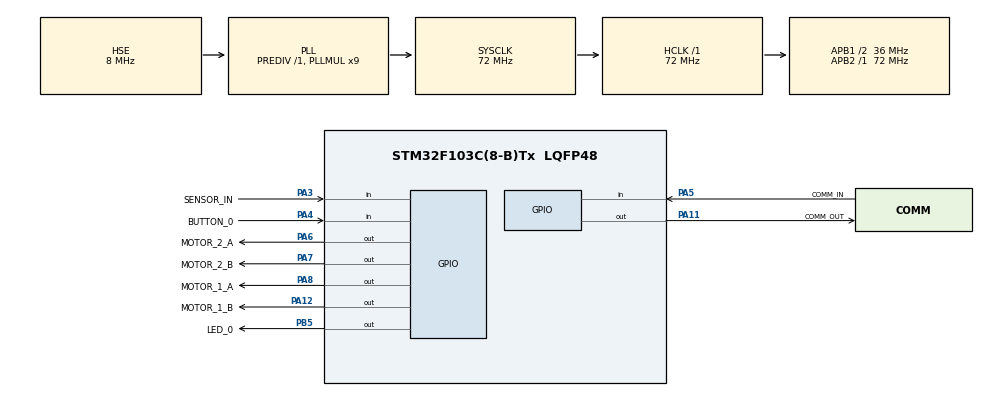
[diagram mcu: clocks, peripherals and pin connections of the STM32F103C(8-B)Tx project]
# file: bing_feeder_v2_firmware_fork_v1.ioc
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Mcu.Family=STM32F1
Mcu.Name=STM32F103C(8-B)Tx
Mcu.Package=LQFP48
NVIC.PriorityGroup=NVIC_PRIORITYGROUP_4
NVIC.TIM1_UP_IRQn=true\:0\:0\:false\:false\:true\:true\:true\:true
PA11.GPIO_Label=COMM_OUT
PA11.GPIO_ModeDefaultOutputPP=GPIO_MODE_OUTPUT_OD
PA11.GPIO_PuPd=GPIO_PULLUP
PA11.Signal=GPIO_Output
PA12.GPIO_Label=MOTOR_1_B
PA12.Signal=GPIO_Output
PA13.Mode=Serial_Wire
PA13.Signal=SYS_JTMS-SWDIO
PA14.Mode=Serial_Wire
PA14.Signal=SYS_JTCK-SWCLK
PA3.GPIO_Label=SENSOR_IN
PA3.GPIO_PuPd=GPIO_PULLUP
PA3.Signal=GPIO_Input
PA4.GPIO_Label=BUTTON_0
PA4.GPIO_PuPd=GPIO_PULLUP
PA4.Signal=GPIO_Input
PA5.GPIO_Label=COMM_IN
PA5.GPIO_PuPd=GPIO_PULLUP
PA5.Signal=GPIO_Input
PA6.GPIO_Label=MOTOR_2_A
PA6.Signal=GPIO_Output
PA7.GPIO_Label=MOTOR_2_B
PA7.Signal=GPIO_Output
PA8.GPIO_Label=MOTOR_1_A
PA8.Signal=GPIO_Output
PB5.GPIO_Label=LED_0
PB5.GPIO_ModeDefaultOutputPP=GPIO_MODE_OUTPUT_OD
PB5.GPIO_PuPd=GPIO_NOPULL
PB5.Signal=GPIO_Output
PD0-OSC_IN.Mode=HSE-External-Oscillator
PD0-OSC_IN.Signal=RCC_OSC_IN
PD1-OSC_OUT.Mode=HSE-External-Oscillator
PD1-OSC_OUT.Signal=RCC_OSC_OUT
ProjectManager.HeapSize=0x200
ProjectManager.StackSize=0x400
ProjectManager.TargetToolchain=Makefile
RCC.AHBFreq_Value=72000000
RCC.APB1CLKDivider=RCC_HCLK_DIV2
RCC.APB1Freq_Value=36000000
RCC.APB1TimFreq_Value=72000000
RCC.APB2Freq_Value=72000000
RCC.APB2TimFreq_Value=72000000
RCC.HCLKFreq_Value=72000000
RCC.PLLMUL=RCC_PLL_MUL9
RCC.PLLSourceVirtual=RCC_PLLSOURCE_HSE
RCC.SYSCLKFreq_VALUE=72000000
RCC.SYSCLKSource=RCC_SYSCLKSOURCE_PLLCLK
RCC.USBFreq_Value=72000000
TIM1.AutoReloadPreload=TIM_AUTORELOAD_PRELOAD_ENABLE
TIM1.Period=100
TIM1.Prescaler=72
VP_TIM1_VS_ClockSourceINT.Mode=Internal
board=custom

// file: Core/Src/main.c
/* USER CODE BEGIN Header */
/**
  ******************************************************************************
  * @file           : main.c
  * @brief          : Main program body
  ******************************************************************************
  * @attention
  *
  * Copyright (c) 2024 STMicroelectronics.
  * All rights reserved.
  *
  * This software is licensed under terms that can be found in the LICENSE file
  * in the root directory of this software component.
  * If no LICENSE file comes with this software, it is provided AS-IS.
  *
  ******************************************************************************
  */
/* USER CODE END Header */
#include "main.h"

/* USER CODE BEGIN PD */

// #define SENSOR_IN_Pin GPIO_PIN_3
// #define SENSOR_IN_GPIO_Port GPIOA
// #define BUTTON_0_Pin GPIO_PIN_4
// #define BUTTON_0_GPIO_Port GPIOA
// #define COMM_IN_Pin GPIO_PIN_5
// #define COMM_IN_GPIO_Port GPIOA
// #define MOTOR_2_A_Pin GPIO_PIN_6
// #define MOTOR_2_A_GPIO_Port GPIOA
// #define MOTOR_2_B_Pin GPIO_PIN_7
// #define MOTOR_2_B_GPIO_Port GPIOA
// #define MOTOR_1_A_Pin GPIO_PIN_8
// #define MOTOR_1_A_GPIO_Port GPIOA
// #define COMM_OUT_Pin GPIO_PIN_11
// #define COMM_OUT_GPIO_Port GPIOA
// #define MOTOR_1_B_Pin GPIO_PIN_12
// #define MOTOR_1_B_GPIO_Port GPIOA
// #define LED_0_Pin GPIO_PIN_5
// #define LED_0_GPIO_Port GPIOB

/* USER CODE END PD */

/* USER CODE BEGIN PM */

#define FEED_STEP        4 /* defines feed step in mm - should be one of next: 2, 4, 8, 12, 14, 16 */

#define BACKLASH_STEP    1 /* dk if it works with other values than 1 */
#define SENSOR_COUNTER_MAX        (FEED_STEP + /* increment for backlash compensation error */ BACKLASH_STEP)
volatile uint8_t sensor_counter = 0;
volatile uint8_t sensor_counter_falling_edge = 0;

#define STATE_INITIAL_SET                   1
#define STATE_IDLE                          2
#define STATE_MOVE_REEL_FORWARD             3
#define STATE_MOVE_REEL_BACKWARD            4
#define STATE_MOVE_REEL_FORWARD_BACKLASH    5
volatile uint8_t state_machine_status = STATE_IDLE;

#define ACTION_STATUS_MASK_0_SENSOR         0
#define ACTION_STATUS_MASK_1_BUTTON_0       1
// #define ACTION_STATUS_MASK_1_BUTTON_0_LONG  2
#define ACTION_STATUS_MASK_2_COMM_IN        3
// volatile uint8_t actions_status = 0;

/* set defaut value to 1 (example: 1 << ACTION_STATUS_MASK_1_BUTTON_0) if you want "pressup" with active button state low */
volatile uint8_t actions_status = 1 << ACTION_STATUS_MASK_1_BUTTON_0;
volatile uint8_t actions_status_long = 0;

volatile uint8_t actions_status_flags = 0;
volatile uint8_t actions_status_flags_long = 0;
volatile uint16_t sensor_debounce_counter_0 = 0;
volatile uint16_t button_debounce_counter_1 = 0;
volatile uint16_t button_debounce_counter_1_long = 0;
volatile uint16_t command_debounce_counter_2 = 0;

#define SENSOR_DEBOUNCE_VALUE  10*1 /* x100 uS */
#define COMMAND_DEBOUNCE_VALUE  10*4 /* x100 uS */

#define BUTTON_DEBOUNCE_VALUE  50 /* x1ms */
#define BUTTON_DEBOUNCE_LONG_VALUE  800 /* x1ms */

void sensors_check(void)
{
  uint8_t pin_status;
  uint8_t old_pin_status;

  /* pin1  */
  pin_status = HAL_GPIO_ReadPin(SENSOR_IN_GPIO_Port, SENSOR_IN_Pin) == 0;

  old_pin_status = (actions_status & (1 << ACTION_STATUS_MASK_0_SENSOR)) == 0;
  if (pin_status != old_pin_status)
  {
    sensor_debounce_counter_0 = sensor_debounce_counter_0 + 1;

    if (sensor_debounce_counter_0 >= SENSOR_DEBOUNCE_VALUE)
    {
      sensor_debounce_counter_0 = SENSOR_DEBOUNCE_VALUE;

      actions_status = actions_status ^ (1 << ACTION_STATUS_MASK_0_SENSOR);

      /* decrease any edge counter */
      if (sensor_counter > 0) {
        sensor_counter = sensor_counter - 1;
      }

      if ((actions_status & (1 << ACTION_STATUS_MASK_0_SENSOR)) == 0)
      {
        /* decrease falling edge counter */
        if (sensor_counter_falling_edge > 0)
        {
          sensor_counter_falling_edge = sensor_counter_falling_edge - 1;
        }
      }
    }
  }
  else
  {
    sensor_debounce_counter_0 = 0;
  }
}

void command_check(void)
{
  uint8_t pin_status;
  uint8_t old_pin_status;

  /* pin3  */
  pin_status = HAL_GPIO_ReadPin(COMM_IN_GPIO_Port, COMM_IN_Pin) == 0;
  old_pin_status = (actions_status & (1 << ACTION_STATUS_MASK_2_COMM_IN)) == 0;
  if (pin_status != old_pin_status)
  {
    command_debounce_counter_2 = command_debounce_counter_2 + 1;

    if (command_debounce_counter_2 >= COMMAND_DEBOUNCE_VALUE)
    {
      command_debounce_counter_2 = COMMAND_DEBOUNCE_VALUE;

      actions_status = actions_status ^ (1 << ACTION_STATUS_MASK_2_COMM_IN);

      // HAL_GPIO_TogglePin(GPIOC, GPIO_PIN_13);
      /* press == 0 */
      /* pressup > 0 and set default actions_status to 1*/
      if ((actions_status & (1 << ACTION_STATUS_MASK_2_COMM_IN)) == 0)
      {
        actions_status_flags = actions_status_flags | (1 << ACTION_STATUS_MASK_2_COMM_IN);
      }
    }
  }
  else
  {
    command_debounce_counter_2 = 0;
  }
}

void buttons_check(void)
{
  uint8_t pin_status;
  uint8_t old_pin_status;

  /* BUTTON_0_Pin  */
  pin_status = HAL_GPIO_ReadPin(BUTTON_0_GPIO_Port, BUTTON_0_Pin) == 0;

  old_pin_status = (actions_status & (1 << ACTION_STATUS_MASK_1_BUTTON_0)) == 0;
  if (pin_status != old_pin_status)
  {
    button_debounce_counter_1 = button_debounce_counter_1 + 1;

    if (button_debounce_counter_1 >= BUTTON_DEBOUNCE_VALUE)
    {
      // button_debounce_counter_1 = BUTTON_DEBOUNCE_VALUE;

      actions_status = actions_status ^ (1 << ACTION_STATUS_MASK_1_BUTTON_0);

      /* pressup */
      // if (pin_status == 0) {
      // if ((actions_status & (1 << ACTION_STATUS_MASK_1_BUTTON_0)) == 1)
      if ((actions_status & (1 << ACTION_STATUS_MASK_1_BUTTON_0)) > 0)
      {

        /* long press override */
        // if ((actions_status_long & (1 << ACTION_STATUS_MASK_1_BUTTON_0)) == 0)
        if ((actions_status_long & (1 << ACTION_STATUS_MASK_1_BUTTON_0)) > 0)
        {
          actions_status_long = actions_status_long & ~(1 << ACTION_STATUS_MASK_1_BUTTON_0); /* clear bit */

          actions_status_flags_long = actions_status_flags_long | (1 << ACTION_STATUS_MASK_1_BUTTON_0);
        } else {
          /* regular scenario */
          actions_status_flags = actions_status_flags | (1 << ACTION_STATUS_MASK_1_BUTTON_0);
        }
      }
      // }
    }
  }

  else
  {
    button_debounce_counter_1 = 0;
  }

  /* BUTTON_0_Pin LONG pressdown */
  if (pin_status == 1)
  {
    button_debounce_counter_1_long = button_debounce_counter_1_long + 1;

    if (button_debounce_counter_1_long >= BUTTON_DEBOUNCE_LONG_VALUE)
    {
      button_debounce_counter_1_long = BUTTON_DEBOUNCE_LONG_VALUE;

      /* set long hold status */
      actions_status_long = actions_status_long | (1 << ACTION_STATUS_MASK_1_BUTTON_0);
    }
  }

  else
  {
    button_debounce_counter_1_long = 0;
  }
}

/* ---------------------------------- */
void Reel_motor_stop(void)
{
  HAL_GPIO_WritePin(MOTOR_2_A_GPIO_Port, MOTOR_2_A_Pin, GPIO_PIN_RESET);
  HAL_GPIO_WritePin(MOTOR_2_B_GPIO_Port, MOTOR_2_B_Pin, GPIO_PIN_RESET);
}

void Reel_motor_forward(void)
{
  HAL_GPIO_WritePin(MOTOR_2_A_GPIO_Port, MOTOR_2_A_Pin, GPIO_PIN_SET);
  HAL_GPIO_WritePin(MOTOR_2_B_GPIO_Port, MOTOR_2_B_Pin, GPIO_PIN_RESET);
}

void Reel_motor_backward(void)
{
  HAL_GPIO_WritePin(MOTOR_2_A_GPIO_Port, MOTOR_2_A_Pin, GPIO_PIN_RESET);
  HAL_GPIO_WritePin(MOTOR_2_B_GPIO_Port, MOTOR_2_B_Pin, GPIO_PIN_SET);
}

/* ---------------------------------- */
void Tape_motor_stop(void)
{
  HAL_GPIO_WritePin(MOTOR_1_A_GPIO_Port, MOTOR_1_A_Pin, GPIO_PIN_RESET);
  HAL_GPIO_WritePin(MOTOR_1_B_GPIO_Port, MOTOR_1_B_Pin, GPIO_PIN_RESET);
}

void Tape_motor_forward(void)
{
  HAL_GPIO_WritePin(MOTOR_1_A_GPIO_Port, MOTOR_1_A_Pin, GPIO_PIN_RESET);
  HAL_GPIO_WritePin(MOTOR_1_B_GPIO_Port, MOTOR_1_B_Pin, GPIO_PIN_SET);
}

// void Tape_motor_backward(void)
// {
//   HAL_GPIO_WritePin(MOTOR_1_A_GPIO_Port, MOTOR_1_A_Pin, GPIO_PIN_SET);
//   HAL_GPIO_WritePin(MOTOR_1_B_GPIO_Port, MOTOR_1_B_Pin, GPIO_PIN_RESET);
// }

/* USER CODE END PM */

TIM_HandleTypeDef htim1;

void SystemClock_Config(void);
static void MX_GPIO_Init(void);
static void MX_TIM1_Init(void);

int main(void)
{

  /* MCU Configuration--------------------------------------------------------*/

  /* Reset of all peripherals, Initializes the Flash interface and the Systick. */
  HAL_Init();

  /* Configure the system clock */
  SystemClock_Config();

  /* Initialize all configured peripherals */
  MX_GPIO_Init();
  MX_TIM1_Init();
  /* USER CODE BEGIN 2 */

  HAL_TIM_Base_Start_IT(&htim1);

  HAL_GPIO_WritePin(LED_0_GPIO_Port, LED_0_Pin, GPIO_PIN_SET);

  /* delay for STATE_INITIAL_SET */
  state_machine_status = STATE_INITIAL_SET;
  HAL_Delay(100);
  /* compensate shift for STATE_INITIAL_SET */
  Reel_motor_backward();

  // Tape_motor_forward();

  /* USER CODE END 2 */

  /* Infinite loop */
  /* USER CODE BEGIN WHILE */
  while (1)
  {
    // HAL_GPIO_TogglePin(LED_0_GPIO_Port, LED_0_Pin);
    // HAL_Delay(1000);

    if (state_machine_status == STATE_INITIAL_SET) {
      /* if sensor signal is 1 see: pin_status = HAL_GPIO_ReadPin(SENSOR_IN_GPIO_Port, SENSOR_IN_Pin) == 0; */
      if ((actions_status & (1 << ACTION_STATUS_MASK_0_SENSOR)) == 0) {
        Reel_motor_stop();
        HAL_Delay(100);
        Tape_motor_forward();
        state_machine_status = STATE_IDLE;
        // HAL_GPIO_WritePin(LED_0_GPIO_Port, LED_0_Pin, GPIO_PIN_SET);
      }
    } else if (state_machine_status == STATE_IDLE) {
      if ((actions_status_flags & (1 << ACTION_STATUS_MASK_1_BUTTON_0)) != 0)
      {
        actions_status_flags = actions_status_flags & ~(1 << ACTION_STATUS_MASK_1_BUTTON_0); /* clear bit */

        state_machine_status = STATE_MOVE_REEL_FORWARD;
        HAL_GPIO_WritePin(LED_0_GPIO_Port, LED_0_Pin, GPIO_PIN_RESET);
        sensor_counter = SENSOR_COUNTER_MAX;
        Tape_motor_stop();
        Reel_motor_forward();
      }
      if ((actions_status_flags_long & (1 << ACTION_STATUS_MASK_1_BUTTON_0)) != 0)
      {
        actions_status_flags_long = actions_status_flags_long & ~(1 << ACTION_STATUS_MASK_1_BUTTON_0); /* clear bit */

        state_machine_status = STATE_MOVE_REEL_BACKWARD;
        HAL_GPIO_WritePin(LED_0_GPIO_Port, LED_0_Pin, GPIO_PIN_RESET);
        /* move backward only by falling edge. that made for right fast aligmend event with backlash acidents */
        sensor_counter_falling_edge = 1; /* 1 is minimum value = 2mm for now */
        Tape_motor_stop();
        Reel_motor_backward();
      }

      if ((actions_status_flags & (1 << ACTION_STATUS_MASK_2_COMM_IN)) != 0)
      {
        actions_status_flags = actions_status_flags & ~(1 << ACTION_STATUS_MASK_2_COMM_IN); /* clear bit */

        state_machine_status = STATE_MOVE_REEL_FORWARD;
        HAL_GPIO_WritePin(LED_0_GPIO_Port, LED_0_Pin, GPIO_PIN_RESET);
        sensor_counter = SENSOR_COUNTER_MAX;
        Tape_motor_stop();
        Reel_motor_forward();
      }

    } else if (state_machine_status == STATE_MOVE_REEL_FORWARD) {
      // if (sensor_counter == 0) {
      //   Reel_motor_stop();
      //   HAL_Delay(5);
      //   Tape_motor_forward();
      //   state_machine_status = STATE_IDLE;
      //   HAL_GPIO_WritePin(LED_0_GPIO_Port, LED_0_Pin, GPIO_PIN_SET);
      // }

      if (sensor_counter == 0) {
        // Reel_motor_stop();
        // HAL_GPIO_WritePin(LED_0_GPIO_Port, LED_0_Pin, GPIO_PIN_SET);
        // HAL_Delay(100);
        // // Tape_motor_forward();
        // sensor_counter = BACKLASH_STEP;
        // Reel_motor_backward();
        // state_machine_status = STATE_MOVE_REEL_FORWARD_BACKLASH;

        /* dissable backlash by the 'initial' method */
        Reel_motor_stop();
        HAL_GPIO_WritePin(LED_0_GPIO_Port, LED_0_Pin, GPIO_PIN_SET);
        HAL_Delay(100);
        Reel_motor_backward();
        state_machine_status = STATE_INITIAL_SET;
      }
    } else if (state_machine_status == STATE_MOVE_REEL_BACKWARD) {
      if (sensor_counter_falling_edge == 0) {
      // if (sensor_counter == 0) {
        Reel_motor_stop();
        HAL_Delay(100);
        Tape_motor_forward();
        state_machine_status = STATE_IDLE;
        HAL_GPIO_WritePin(LED_0_GPIO_Port, LED_0_Pin, GPIO_PIN_SET);
      }
    }
    // else if (state_machine_status == STATE_MOVE_REEL_FORWARD_BACKLASH) {
    //   if (sensor_counter == 0) {
    //     Reel_motor_stop();
    //     HAL_Delay(100);
    //     Tape_motor_forward();
    //     state_machine_status = STATE_IDLE;
    //     // HAL_GPIO_WritePin(LED_0_GPIO_Port, LED_0_Pin, GPIO_PIN_SET);
    //   }
    // }

    // /* process buttons ------- >>>>> */
    // if ((actions_status_flags & (1<<ACTION_STATUS_MASK_0_SENSOR)) != 0) {
    //   actions_status_flags = actions_status_flags & ~(1<<ACTION_STATUS_MASK_0_SENSOR); /* clear bit */
    // }

    // if ((actions_status_flags & (1<<ACTION_STATUS_MASK_1_BUTTON_0)) != 0) {
    //   actions_status_flags = actions_status_flags & ~(1<<ACTION_STATUS_MASK_1_BUTTON_0); /* clear bit */

    //   // HAL_GPIO_TogglePin(LED_0_GPIO_Port, LED_0_Pin);
    //   Reel_motor_stop();
    //   Reel_motor_forward();
    //   HAL_Delay(1000);
    //   Reel_motor_stop();
    //   // HAL_Delay(1000);
    //   // Reel_motor_backward();
    //   // HAL_Delay(1000);
    //   // Reel_motor_stop();

    //   // Tape_motor_stop();
    //   // Tape_motor_forward();
    //   // HAL_Delay(1000);
    //   // Tape_motor_stop();
    //   // HAL_Delay(1000);
    //   // // Tape_motor_reverse();
    //   // // HAL_Delay(1000);
    //   // Tape_motor_stop();
    // }
    // if ((actions_status_flags_long & (1<<ACTION_STATUS_MASK_1_BUTTON_0)) != 0) {
    //   actions_status_flags_long = actions_status_flags_long & ~(1<<ACTION_STATUS_MASK_1_BUTTON_0); /* clear bit */

    //   // HAL_GPIO_TogglePin(LED_0_GPIO_Port, LED_0_Pin);
    //   Reel_motor_stop();
    //   Reel_motor_backward();
    //   HAL_Delay(1000);
    //   Reel_motor_stop();

    //   // Tape_motor_stop();
    //   // Tape_motor_forward();
    //   // HAL_Delay(1000);
    //   // Tape_motor_stop();
    //   // HAL_Delay(1000);
    //   // // Tape_motor_reverse();
    //   // // HAL_Delay(1000);
    //   // Tape_motor_stop();
    // }
    // if ((actions_status_flags & (1<<ACTION_STATUS_MASK_2_COMM_IN)) != 0) {
    //   actions_status_flags = actions_status_flags & ~(1<<ACTION_STATUS_MASK_2_COMM_IN); /* clear bit */

    //   // HAL_GPIO_TogglePin(GPIOC, GPIO_PIN_13);
    // }
    /* USER CODE END WHILE */

  }
}

void SystemClock_Config(void)
{
  RCC_OscInitTypeDef RCC_OscInitStruct = {0};
  RCC_ClkInitTypeDef RCC_ClkInitStruct = {0};

  /** Initializes the RCC Oscillators according to the specified parameters
  * in the RCC_OscInitTypeDef structure.
  */
  RCC_OscInitStruct.OscillatorType = RCC_OSCILLATORTYPE_HSE;
  RCC_OscInitStruct.HSEState = RCC_HSE_ON;
  RCC_OscInitStruct.HSEPredivValue = RCC_HSE_PREDIV_DIV1;
  RCC_OscInitStruct.HSIState = RCC_HSI_ON;
  RCC_OscInitStruct.PLL.PLLState = RCC_PLL_ON;
  RCC_OscInitStruct.PLL.PLLSource = RCC_PLLSOURCE_HSE;
  RCC_OscInitStruct.PLL.PLLMUL = RCC_PLL_MUL9;
  if (HAL_RCC_OscConfig(&RCC_OscInitStruct) != HAL_OK)
  {
    Error_Handler();
  }

  /** Initializes the CPU, AHB and APB buses clocks
  */
  RCC_ClkInitStruct.ClockType = RCC_CLOCKTYPE_HCLK|RCC_CLOCKTYPE_SYSCLK
                              |RCC_CLOCKTYPE_PCLK1|RCC_CLOCKTYPE_PCLK2;
  RCC_ClkInitStruct.SYSCLKSource = RCC_SYSCLKSOURCE_PLLCLK;
  RCC_ClkInitStruct.AHBCLKDivider = RCC_SYSCLK_DIV1;
  RCC_ClkInitStruct.APB1CLKDivider = RCC_HCLK_DIV2;
  RCC_ClkInitStruct.APB2CLKDivider = RCC_HCLK_DIV1;

  if (HAL_RCC_ClockConfig(&RCC_ClkInitStruct, FLASH_LATENCY_2) != HAL_OK)
  {
    Error_Handler();
  }
}

static void MX_TIM1_Init(void)
{

  TIM_ClockConfigTypeDef sClockSourceConfig = {0};
  TIM_MasterConfigTypeDef sMasterConfig = {0};

  htim1.Instance = TIM1;
  htim1.Init.Prescaler = 72;
  htim1.Init.CounterMode = TIM_COUNTERMODE_UP;
  htim1.Init.Period = 100;
  htim1.Init.ClockDivision = TIM_CLOCKDIVISION_DIV1;
  htim1.Init.RepetitionCounter = 0;
  htim1.Init.AutoReloadPreload = TIM_AUTORELOAD_PRELOAD_ENABLE;
  if (HAL_TIM_Base_Init(&htim1) != HAL_OK)
  {
    Error_Handler();
  }
  sClockSourceConfig.ClockSource = TIM_CLOCKSOURCE_INTERNAL;
  if (HAL_TIM_ConfigClockSource(&htim1, &sClockSourceConfig) != HAL_OK)
  {
    Error_Handler();
  }
  sMasterConfig.MasterOutputTrigger = TIM_TRGO_RESET;
  sMasterConfig.MasterSlaveMode = TIM_MASTERSLAVEMODE_DISABLE;
  if (HAL_TIMEx_MasterConfigSynchronization(&htim1, &sMasterConfig) != HAL_OK)
  {
    Error_Handler();
  }

}

static void MX_GPIO_Init(void)
{
  GPIO_InitTypeDef GPIO_InitStruct = {0};

  /* GPIO Ports Clock Enable */
  __HAL_RCC_GPIOD_CLK_ENABLE();
  __HAL_RCC_GPIOA_CLK_ENABLE();
  __HAL_RCC_GPIOB_CLK_ENABLE();

  /*Configure GPIO pin Output Level */
  HAL_GPIO_WritePin(GPIOA, MOTOR_2_A_Pin|MOTOR_2_B_Pin|MOTOR_1_A_Pin|COMM_OUT_Pin
                          |MOTOR_1_B_Pin, GPIO_PIN_RESET);

  /*Configure GPIO pin Output Level */
  HAL_GPIO_WritePin(LED_0_GPIO_Port, LED_0_Pin, GPIO_PIN_RESET);

  /*Configure GPIO pins : SENSOR_IN_Pin BUTTON_0_Pin COMM_IN_Pin */
  GPIO_InitStruct.Pin = SENSOR_IN_Pin|BUTTON_0_Pin|COMM_IN_Pin;
  GPIO_InitStruct.Mode = GPIO_MODE_INPUT;
  GPIO_InitStruct.Pull = GPIO_PULLUP;
  HAL_GPIO_Init(GPIOA, &GPIO_InitStruct);

  /*Configure GPIO pins : MOTOR_2_A_Pin MOTOR_2_B_Pin MOTOR_1_A_Pin MOTOR_1_B_Pin */
  GPIO_InitStruct.Pin = MOTOR_2_A_Pin|MOTOR_2_B_Pin|MOTOR_1_A_Pin|MOTOR_1_B_Pin;
  GPIO_InitStruct.Mode = GPIO_MODE_OUTPUT_PP;
  GPIO_InitStruct.Pull = GPIO_NOPULL;
  GPIO_InitStruct.Speed = GPIO_SPEED_FREQ_LOW;
  HAL_GPIO_Init(GPIOA, &GPIO_InitStruct);

  /*Configure GPIO pin : COMM_OUT_Pin */
  GPIO_InitStruct.Pin = COMM_OUT_Pin;
  GPIO_InitStruct.Mode = GPIO_MODE_OUTPUT_OD;
  GPIO_InitStruct.Pull = GPIO_PULLUP;
  GPIO_InitStruct.Speed = GPIO_SPEED_FREQ_LOW;
  HAL_GPIO_Init(COMM_OUT_GPIO_Port, &GPIO_InitStruct);

  /*Configure GPIO pin : LED_0_Pin */
  GPIO_InitStruct.Pin = LED_0_Pin;
  GPIO_InitStruct.Mode = GPIO_MODE_OUTPUT_OD;
  GPIO_InitStruct.Pull = GPIO_NOPULL;
  GPIO_InitStruct.Speed = GPIO_SPEED_FREQ_LOW;
  HAL_GPIO_Init(LED_0_GPIO_Port, &GPIO_InitStruct);

}

/* USER CODE BEGIN 4 */

uint16_t sensors_tim_prescaler = 0;
uint16_t buttons_tim_prescaler = 0;

/* 10 kHz */
void HAL_TIM_PeriodElapsedCallback(TIM_HandleTypeDef *htim) {
  sensors_tim_prescaler++;
  buttons_tim_prescaler++;
  // if (buttons_tim_prescaler == 10*1000) {
  if (buttons_tim_prescaler == 10*1) {
    buttons_tim_prescaler = 0;
    // HAL_GPIO_TogglePin(GPIOC, GPIO_PIN_13);

    if (state_machine_status == STATE_IDLE) {
      buttons_check();
    }
  }

  if (sensors_tim_prescaler == 1*1) {
    sensors_tim_prescaler = 0;
    // HAL_GPIO_TogglePin(GPIOC, GPIO_PIN_13);
    sensors_check();

    if (state_machine_status == STATE_IDLE) {
      command_check();
    }
  }
}

/* USER CODE END 4 */

void Error_Handler(void)
{
  __disable_irq();
  while (1)
  {
  }
}
